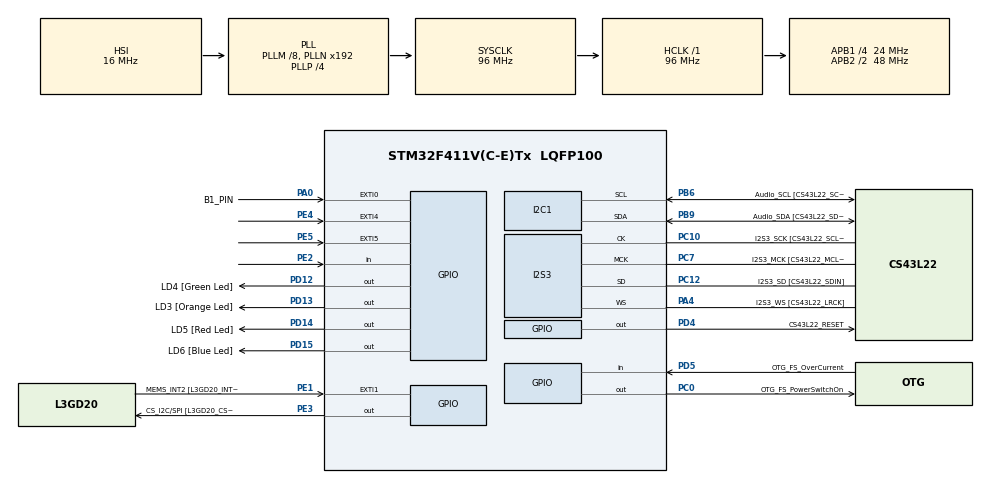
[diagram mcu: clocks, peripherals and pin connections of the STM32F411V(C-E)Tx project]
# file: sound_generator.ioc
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Dma.Request0=SPI3_TX
Dma.SPI3_TX.0.Direction=DMA_MEMORY_TO_PERIPH
Dma.SPI3_TX.0.FIFOMode=DMA_FIFOMODE_DISABLE
Dma.SPI3_TX.0.Instance=DMA1_Stream5
Dma.SPI3_TX.0.MemDataAlignment=DMA_MDATAALIGN_HALFWORD
Dma.SPI3_TX.0.MemInc=DMA_MINC_ENABLE
Dma.SPI3_TX.0.Mode=DMA_CIRCULAR
Dma.SPI3_TX.0.PeriphDataAlignment=DMA_PDATAALIGN_HALFWORD
Dma.SPI3_TX.0.PeriphInc=DMA_PINC_DISABLE
Dma.SPI3_TX.0.Priority=DMA_PRIORITY_LOW
I2S3.AudioFreq=I2S_AUDIOFREQ_48K
I2S3.ErrorAudioFreq=0.15 %
I2S3.FullDuplexMode=I2S_FULLDUPLEXMODE_DISABLE
I2S3.Instance=SPI$Index
I2S3.RealAudioFreq=48.076 KHz
I2S3.Standard=I2S_STANDARD_LSB
I2S3.VirtualMode=I2S_MODE_MASTER
Mcu.Family=STM32F4
Mcu.Name=STM32F411V(C-E)Tx
Mcu.Package=LQFP100
NVIC.DMA1_Stream5_IRQn=true\:0\:0\:false\:false\:true\:false\:true\:true
NVIC.PriorityGroup=NVIC_PRIORITYGROUP_0
NVIC.SPI3_IRQn=true\:0\:0\:false\:false\:true\:true\:true\:true
PA0-WKUP.GPIO_Label=B1_PIN
PA0-WKUP.GPIO_ModeDefaultEXTI=GPIO_MODE_EVT_RISING
PA0-WKUP.Signal=GPXTI0
PA10.GPIO_Label=OTG_FS_ID
PA10.Signal=USB_OTG_FS_ID
PA11.GPIO_Label=OTG_FS_DM
PA11.Signal=USB_OTG_FS_DM
PA12.GPIO_Label=OTG_FS_DP
PA12.Signal=USB_OTG_FS_DP
PA13.GPIO_Label=SWDIO
PA13.Signal=SYS_JTMS-SWDIO
PA14.GPIO_Label=SWCLK
PA14.Signal=SYS_JTCK-SWCLK
PA4.GPIO_Label=I2S3_WS [CS43L22_LRCK]
PA4.GPIO_Mode=GPIO_MODE_AF_PP
PA4.GPIO_PuPd=GPIO_NOPULL
PA4.GPIO_Speed=GPIO_SPEED_FREQ_LOW
PA4.Mode=Half_Duplex_Master
PA4.Signal=I2S3_WS
PA5.GPIO_Label=SPI1_SCK [L3GD20_SC/SPC]
PA5.Signal=SPI1_SCK
PA6.GPIO_Label=SPI1_MISO [L3GD20_AS0/SDO]
PA6.Signal=SPI1_MISO
PA7.GPIO_Label=SPI1_MOSI [L3GD20_SDA/SDI/SDO]
PA7.Signal=SPI1_MOSI
PA9.GPIO_Label=VBUS_FS
PA9.Signal=USB_OTG_FS_VBUS
PB10.GPIO_Label=CLK_IN [MP45DT02_CLK]
PB10.Signal=I2S2_CK
PB12.Signal=I2S2_WS
PB3.GPIO_Label=SWO
PB3.Signal=SYS_JTDO-SWO
PB6.GPIO_Label=Audio_SCL [CS43L22_SCL]
PB6.GPIO_Mode=GPIO_MODE_AF_OD
PB6.GPIO_PuPd=GPIO_NOPULL
PB6.GPIO_Speed=GPIO_SPEED_FREQ_LOW
PB6.Mode=I2C
PB6.Signal=I2C1_SCL
PB9.GPIO_Label=Audio_SDA [CS43L22_SDA]
PB9.GPIO_Mode=GPIO_MODE_AF_OD
PB9.GPIO_PuPd=GPIO_NOPULL
PB9.GPIO_Speed=GPIO_SPEED_FREQ_LOW
PB9.Mode=I2C
PB9.Signal=I2C1_SDA
PC0.GPIO_Label=OTG_FS_PowerSwitchOn
PC0.PinState=GPIO_PIN_SET
PC0.Signal=GPIO_Output
PC10.GPIO_Label=I2S3_SCK [CS43L22_SCLK]
PC10.GPIO_Mode=GPIO_MODE_AF_PP
PC10.GPIO_PuPd=GPIO_NOPULL
PC10.GPIO_Speed=GPIO_SPEED_FREQ_LOW
PC10.Mode=Half_Duplex_Master
PC10.Signal=I2S3_CK
PC12.GPIO_Label=I2S3_SD [CS43L22_SDIN]
PC12.GPIO_Mode=GPIO_MODE_AF_PP
PC12.GPIO_PuPd=GPIO_NOPULL
PC12.GPIO_Speed=GPIO_SPEED_FREQ_LOW
PC12.Mode=Half_Duplex_Master
PC12.Signal=I2S3_SD
PC14-OSC32_IN.GPIO_Label=PC14-OSC32_IN
PC14-OSC32_IN.Signal=RCC_OSC32_IN
PC15-OSC32_OUT.GPIO_Label=PC15-OSC32_OUT
PC15-OSC32_OUT.Signal=RCC_OSC32_OUT
PC3.GPIO_Label=PDM_OUT [MP45DT02_DOUT]
PC3.Signal=I2S2_SD
PC7.GPIO_Label=I2S3_MCK [CS43L22_MCLK]
PC7.GPIO_Mode=GPIO_MODE_AF_PP
PC7.GPIO_PuPd=GPIO_NOPULL
PC7.GPIO_Speed=GPIO_SPEED_FREQ_LOW
PC7.Mode=Master_Clock_Activated
PC7.Signal=I2S3_MCK
PD12.GPIO_Label=LD4 [Green Led]
PD12.GPIO_PuPd=GPIO_NOPULL
PD12.GPIO_Speed=GPIO_SPEED_FREQ_LOW
PD12.Signal=GPIO_Output
PD13.GPIO_Label=LD3 [Orange Led]
PD13.GPIO_PuPd=GPIO_NOPULL
PD13.GPIO_Speed=GPIO_SPEED_FREQ_LOW
PD13.Signal=GPIO_Output
PD14.GPIO_Label=LD5 [Red Led]
PD14.GPIO_PuPd=GPIO_NOPULL
PD14.GPIO_Speed=GPIO_SPEED_FREQ_LOW
PD14.Signal=GPIO_Output
PD15.GPIO_Label=LD6 [Blue Led]
PD15.GPIO_PuPd=GPIO_NOPULL
PD15.GPIO_Speed=GPIO_SPEED_FREQ_LOW
PD15.Signal=GPIO_Output
PD4.GPIO_Label=CS43L22_RESET
PD4.Signal=GPIO_Output
PD5.GPIO_Label=OTG_FS_OverCurrent
PD5.Signal=GPIO_Input
PE1.GPIO_Label=MEMS_INT2 [L3GD20_INT2]
PE1.GPIO_ModeDefaultEXTI=GPIO_MODE_EVT_RISING
PE1.Signal=GPXTI1
PE2.Signal=GPIO_Input
PE3.GPIO_Label=CS_I2C/SPI [L3GD20_CS_I2C/SPI]
PE3.Signal=GPIO_Output
PE4.GPIO_ModeDefaultEXTI=GPIO_MODE_EVT_RISING
PE4.Signal=GPXTI4
PE5.GPIO_ModeDefaultEXTI=GPIO_MODE_EVT_RISING
PE5.Signal=GPXTI5
PH0\ -\ OSC_IN.GPIO_Label=PH0-OSC_IN
PH0\ -\ OSC_IN.Signal=RCC_OSC_IN
PH1\ -\ OSC_OUT.GPIO_Label=PH1-OSC_OUT
PH1\ -\ OSC_OUT.Signal=RCC_OSC_OUT
ProjectManager.HeapSize=0x200
ProjectManager.StackSize=0x400
ProjectManager.TargetToolchain=STM32CubeIDE
RCC.48MHZClocksFreq_Value=48000000
RCC.AHBFreq_Value=96000000
RCC.APB1CLKDivider=RCC_HCLK_DIV4
RCC.APB1Freq_Value=24000000
RCC.APB1TimFreq_Value=48000000
RCC.APB2CLKDivider=RCC_HCLK_DIV2
RCC.APB2Freq_Value=48000000
RCC.APB2TimFreq_Value=96000000
RCC.CortexFreq_Value=96000000
RCC.HCLKFreq_Value=96000000
RCC.HSE_VALUE=8000000
RCC.HSI_VALUE=16000000
RCC.LSE_VALUE=32768
RCC.PLLI2SM=5
RCC.PLLI2SN=200
RCC.PLLM=8
RCC.PLLP=RCC_PLLP_DIV4
RCC.PLLQ=8
RCC.SYSCLKFreq_VALUE=96000000
RCC.SYSCLKSource=RCC_SYSCLKSOURCE_PLLCLK
RCC.VCOOutputFreq_Value=384000000
board=STM32F411E-DISCO

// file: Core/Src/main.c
/* USER CODE BEGIN Header */
/**
  ******************************************************************************
  * @file           : main.c
  * @brief          : Main program body
  ******************************************************************************
  * @attention
  *
  * Copyright (c) 2024 STMicroelectronics.
  * All rights reserved.
  *
  * This software is licensed under terms that can be found in the LICENSE file
  * in the root directory of this software component.
  * If no LICENSE file comes with this software, it is provided AS-IS.
  *
  ******************************************************************************
  */
/* USER CODE END Header */
#include "main.h"

/* USER CODE BEGIN Includes */
#include "cs43l22.h"
#include "math.h"
#include "TJ_MPU6050.h"
#include <stdlib.h>
/* USER CODE END Includes */

I2C_HandleTypeDef hi2c1;

I2S_HandleTypeDef hi2s3;
DMA_HandleTypeDef hdma_spi3_tx;

void SystemClock_Config(void);
static void MX_GPIO_Init(void);
static void MX_DMA_Init(void);
static void MX_I2C1_Init(void);
static void MX_I2S3_Init(void);

/* USER CODE BEGIN 0 */
volatile uint8_t mode = 0; // zmienna przechowująca aktualny tryb
#define SIN_FREQ       100 //100 - jeden z lepszych efektów
#define SAMPLING_RATE  48000
#define BUFFER_LENGTH  SAMPLING_RATE / SIN_FREQ
int16_t buffer_audio[2 * BUFFER_LENGTH];

void change_freq(int sound_freq)
{
	  for(int i = 0; i < BUFFER_LENGTH;i++)
	    {
	        buffer_audio[2 * i] = 10000 * sin(2 * 3.14 * sound_freq * i / SAMPLING_RATE);
	        buffer_audio[2 * i + 1] = 10000 * sin(2 * 3.14 * sound_freq * i / SAMPLING_RATE);
	    }
}

int16_t get_max_abs_value(int16_t x, int16_t y, int16_t z) {
    int16_t abs_x = abs(x);
    int16_t abs_y = abs(y);
    int16_t abs_z = abs(z);

    int16_t max_value = abs_x;
    if (abs_y > max_value) {
        max_value = abs_y;
    }
    if (abs_z > max_value) {
        max_value = abs_z;
    }
    return max_value;
}

int16_t get_min_abs_value(int16_t x, int16_t y, int16_t z) {
    int16_t abs_x = abs(x);
    int16_t abs_y = abs(y);
    int16_t abs_z = abs(z);

    int16_t min_value = abs_x;
    if (abs_y < min_value) {
        min_value = abs_y;
    }
    if (abs_z < min_value) {
        min_value = abs_z;
    }
    return min_value;
}

RawData_Def AccelRawData, GyroRawData;
/* USER CODE END 0 */

int main(void)
{

  /* USER CODE BEGIN 1 */
 MPU_ConfigTypeDef SoundGenMPU;
  /* USER CODE END 1 */

  /* MCU Configuration--------------------------------------------------------*/

  /* Reset of all peripherals, Initializes the Flash interface and the Systick. */
  HAL_Init();

  /* Configure the system clock */
  SystemClock_Config();

  /* Initialize all configured peripherals */
  MX_GPIO_Init();
  MX_DMA_Init();
  MX_I2C1_Init();
  MX_I2S3_Init();
  /* USER CODE BEGIN 2 */
  cs43l22_init();
  MPU6050_Init(&hi2c1);//pointer na we

  /* USER CODE END 2 */

  /* Infinite loop */
  /* USER CODE BEGIN WHILE */
  // playing the sound - ciągłe granie
  SoundGenMPU.Accel_Full_Scale = AFS_SEL_2g;
  SoundGenMPU.ClockSource = Internal_8MHz;
  SoundGenMPU.CONFIG_DLPF = DLPF_184A_188G_Hz;
  SoundGenMPU.Gyro_Full_Scale = FS_SEL_500;
  SoundGenMPU.Sleep_Mode_Bit = 0;
  MPU6050_Config(&SoundGenMPU);
  cs43l22_play(buffer_audio, 2 * BUFFER_LENGTH);
  uint16_t freq = 0;
  uint8_t mode = 0;
  while (1)
  {
      MPU6050_Get_Accel_RawData(&AccelRawData);
      MPU6050_Get_Gyro_RawData(&GyroRawData);

      if (HAL_GPIO_ReadPin(B1_PIN_GPIO_Port, B1_PIN_Pin))
      {
          HAL_Delay(10);
          if (HAL_GPIO_ReadPin(B1_PIN_GPIO_Port, B1_PIN_Pin))
          {
              mode = (mode + 1) % 3; // Zmiana trybu
              while (HAL_GPIO_ReadPin(B1_PIN_GPIO_Port, B1_PIN_Pin));
          }
      }

      switch (mode)
      {
          case 0:
              freq = abs(GyroRawData.x); // Tryb 1: wykorzystanie osi X
              if (freq < 100) freq = 100;
              break;
          case 1:
        	  static uint16_t prev_freq = 0;
        	  uint16_t new_freq = get_max_abs_value(GyroRawData.x, GyroRawData.y, GyroRawData.z) / 10;
        	  freq = (prev_freq + new_freq) / 2;
        	  prev_freq = freq;
        	  if (freq < 100) freq = 100; // Tryb 2: smooth - uśrednianie
              break;
          case 2:
              freq = (abs(GyroRawData.x) + abs(GyroRawData.y) + abs(GyroRawData.z)) / (3*10); // Tryb 3: zaniżona średnia z osi
              if (freq < 100) freq = 100;
              break;
      }
      change_freq(freq);
      HAL_Delay(10);
  }

    /* USER CODE END WHILE */

}

void SystemClock_Config(void)
{
  RCC_OscInitTypeDef RCC_OscInitStruct = {0};
  RCC_ClkInitTypeDef RCC_ClkInitStruct = {0};

  /** Configure the main internal regulator output voltage
  */
  __HAL_RCC_PWR_CLK_ENABLE();
  __HAL_PWR_VOLTAGESCALING_CONFIG(PWR_REGULATOR_VOLTAGE_SCALE1);

  /** Initializes the RCC Oscillators according to the specified parameters
  * in the RCC_OscInitTypeDef structure.
  */
  RCC_OscInitStruct.OscillatorType = RCC_OSCILLATORTYPE_HSI;
  RCC_OscInitStruct.HSIState = RCC_HSI_ON;
  RCC_OscInitStruct.HSICalibrationValue = RCC_HSICALIBRATION_DEFAULT;
  RCC_OscInitStruct.PLL.PLLState = RCC_PLL_ON;
  RCC_OscInitStruct.PLL.PLLSource = RCC_PLLSOURCE_HSI;
  RCC_OscInitStruct.PLL.PLLM = 8;
  RCC_OscInitStruct.PLL.PLLN = 192;
  RCC_OscInitStruct.PLL.PLLP = RCC_PLLP_DIV4;
  RCC_OscInitStruct.PLL.PLLQ = 8;
  if (HAL_RCC_OscConfig(&RCC_OscInitStruct) != HAL_OK)
  {
    Error_Handler();
  }

  /** Initializes the CPU, AHB and APB buses clocks
  */
  RCC_ClkInitStruct.ClockType = RCC_CLOCKTYPE_HCLK|RCC_CLOCKTYPE_SYSCLK
                              |RCC_CLOCKTYPE_PCLK1|RCC_CLOCKTYPE_PCLK2;
  RCC_ClkInitStruct.SYSCLKSource = RCC_SYSCLKSOURCE_PLLCLK;
  RCC_ClkInitStruct.AHBCLKDivider = RCC_SYSCLK_DIV1;
  RCC_ClkInitStruct.APB1CLKDivider = RCC_HCLK_DIV4;
  RCC_ClkInitStruct.APB2CLKDivider = RCC_HCLK_DIV2;

  if (HAL_RCC_ClockConfig(&RCC_ClkInitStruct, FLASH_LATENCY_3) != HAL_OK)
  {
    Error_Handler();
  }
}

static void MX_I2C1_Init(void)
{

  hi2c1.Instance = I2C1;
  hi2c1.Init.ClockSpeed = 100000;
  hi2c1.Init.DutyCycle = I2C_DUTYCYCLE_2;
  hi2c1.Init.OwnAddress1 = 0;
  hi2c1.Init.AddressingMode = I2C_ADDRESSINGMODE_7BIT;
  hi2c1.Init.DualAddressMode = I2C_DUALADDRESS_DISABLE;
  hi2c1.Init.OwnAddress2 = 0;
  hi2c1.Init.GeneralCallMode = I2C_GENERALCALL_DISABLE;
  hi2c1.Init.NoStretchMode = I2C_NOSTRETCH_DISABLE;
  if (HAL_I2C_Init(&hi2c1) != HAL_OK)
  {
    Error_Handler();
  }

}

static void MX_I2S3_Init(void)
{

  hi2s3.Instance = SPI3;
  hi2s3.Init.Mode = I2S_MODE_MASTER_TX;
  hi2s3.Init.Standard = I2S_STANDARD_LSB;
  hi2s3.Init.DataFormat = I2S_DATAFORMAT_16B;
  hi2s3.Init.MCLKOutput = I2S_MCLKOUTPUT_ENABLE;
  hi2s3.Init.AudioFreq = I2S_AUDIOFREQ_48K;
  hi2s3.Init.CPOL = I2S_CPOL_LOW;
  hi2s3.Init.ClockSource = I2S_CLOCK_PLL;
  hi2s3.Init.FullDuplexMode = I2S_FULLDUPLEXMODE_DISABLE;
  if (HAL_I2S_Init(&hi2s3) != HAL_OK)
  {
    Error_Handler();
  }

}

static void MX_DMA_Init(void)
{

  /* DMA controller clock enable */
  __HAL_RCC_DMA1_CLK_ENABLE();

  /* DMA interrupt init */
  /* DMA1_Stream5_IRQn interrupt configuration */
  HAL_NVIC_SetPriority(DMA1_Stream5_IRQn, 0, 0);
  HAL_NVIC_EnableIRQ(DMA1_Stream5_IRQn);

}

static void MX_GPIO_Init(void)
{
  GPIO_InitTypeDef GPIO_InitStruct = {0};

  /* GPIO Ports Clock Enable */
  __HAL_RCC_GPIOE_CLK_ENABLE();
  __HAL_RCC_GPIOC_CLK_ENABLE();
  __HAL_RCC_GPIOH_CLK_ENABLE();
  __HAL_RCC_GPIOA_CLK_ENABLE();
  __HAL_RCC_GPIOB_CLK_ENABLE();
  __HAL_RCC_GPIOD_CLK_ENABLE();

  /*Configure GPIO pin Output Level */
  HAL_GPIO_WritePin(CS_I2C_SPI_GPIO_Port, CS_I2C_SPI_Pin, GPIO_PIN_RESET);

  /*Configure GPIO pin Output Level */
  HAL_GPIO_WritePin(OTG_FS_PowerSwitchOn_GPIO_Port, OTG_FS_PowerSwitchOn_Pin, GPIO_PIN_SET);

  /*Configure GPIO pin Output Level */
  HAL_GPIO_WritePin(GPIOD, LD4_Pin|LD3_Pin|LD5_Pin|LD6_Pin
                          |CS43L22_RESET_Pin, GPIO_PIN_RESET);

  /*Configure GPIO pin : PE2 */
  GPIO_InitStruct.Pin = GPIO_PIN_2;
  GPIO_InitStruct.Mode = GPIO_MODE_INPUT;
  GPIO_InitStruct.Pull = GPIO_NOPULL;
  HAL_GPIO_Init(GPIOE, &GPIO_InitStruct);

  /*Configure GPIO pin : CS_I2C_SPI_Pin */
  GPIO_InitStruct.Pin = CS_I2C_SPI_Pin;
  GPIO_InitStruct.Mode = GPIO_MODE_OUTPUT_PP;
  GPIO_InitStruct.Pull = GPIO_NOPULL;
  GPIO_InitStruct.Speed = GPIO_SPEED_FREQ_LOW;
  HAL_GPIO_Init(CS_I2C_SPI_GPIO_Port, &GPIO_InitStruct);

  /*Configure GPIO pins : PE4 PE5 MEMS_INT2_Pin */
  GPIO_InitStruct.Pin = GPIO_PIN_4|GPIO_PIN_5|MEMS_INT2_Pin;
  GPIO_InitStruct.Mode = GPIO_MODE_EVT_RISING;
  GPIO_InitStruct.Pull = GPIO_NOPULL;
  HAL_GPIO_Init(GPIOE, &GPIO_InitStruct);

  /*Configure GPIO pin : OTG_FS_PowerSwitchOn_Pin */
  GPIO_InitStruct.Pin = OTG_FS_PowerSwitchOn_Pin;
  GPIO_InitStruct.Mode = GPIO_MODE_OUTPUT_PP;
  GPIO_InitStruct.Pull = GPIO_NOPULL;
  GPIO_InitStruct.Speed = GPIO_SPEED_FREQ_LOW;
  HAL_GPIO_Init(OTG_FS_PowerSwitchOn_GPIO_Port, &GPIO_InitStruct);

  /*Configure GPIO pin : PDM_OUT_Pin */
  GPIO_InitStruct.Pin = PDM_OUT_Pin;
  GPIO_InitStruct.Mode = GPIO_MODE_AF_PP;
  GPIO_InitStruct.Pull = GPIO_NOPULL;
  GPIO_InitStruct.Speed = GPIO_SPEED_FREQ_LOW;
  GPIO_InitStruct.Alternate = GPIO_AF5_SPI2;
  HAL_GPIO_Init(PDM_OUT_GPIO_Port, &GPIO_InitStruct);

  /*Configure GPIO pin : B1_PIN_Pin */
  GPIO_InitStruct.Pin = B1_PIN_Pin;
  GPIO_InitStruct.Mode = GPIO_MODE_EVT_RISING;
  GPIO_InitStruct.Pull = GPIO_NOPULL;
  HAL_GPIO_Init(B1_PIN_GPIO_Port, &GPIO_InitStruct);

  /*Configure GPIO pins : SPI1_SCK_Pin SPI1_MISO_Pin SPI1_MOSI_Pin */
  GPIO_InitStruct.Pin = SPI1_SCK_Pin|SPI1_MISO_Pin|SPI1_MOSI_Pin;
  GPIO_InitStruct.Mode = GPIO_MODE_AF_PP;
  GPIO_InitStruct.Pull = GPIO_NOPULL;
  GPIO_InitStruct.Speed = GPIO_SPEED_FREQ_VERY_HIGH;
  GPIO_InitStruct.Alternate = GPIO_AF5_SPI1;
  HAL_GPIO_Init(GPIOA, &GPIO_InitStruct);

  /*Configure GPIO pins : CLK_IN_Pin PB12 */
  GPIO_InitStruct.Pin = CLK_IN_Pin|GPIO_PIN_12;
  GPIO_InitStruct.Mode = GPIO_MODE_AF_PP;
  GPIO_InitStruct.Pull = GPIO_NOPULL;
  GPIO_InitStruct.Speed = GPIO_SPEED_FREQ_LOW;
  GPIO_InitStruct.Alternate = GPIO_AF5_SPI2;
  HAL_GPIO_Init(GPIOB, &GPIO_InitStruct);

  /*Configure GPIO pins : LD4_Pin LD3_Pin LD5_Pin LD6_Pin
                           CS43L22_RESET_Pin */
  GPIO_InitStruct.Pin = LD4_Pin|LD3_Pin|LD5_Pin|LD6_Pin
                          |CS43L22_RESET_Pin;
  GPIO_InitStruct.Mode = GPIO_MODE_OUTPUT_PP;
  GPIO_InitStruct.Pull = GPIO_NOPULL;
  GPIO_InitStruct.Speed = GPIO_SPEED_FREQ_LOW;
  HAL_GPIO_Init(GPIOD, &GPIO_InitStruct);

  /*Configure GPIO pin : VBUS_FS_Pin */
  GPIO_InitStruct.Pin = VBUS_FS_Pin;
  GPIO_InitStruct.Mode = GPIO_MODE_INPUT;
  GPIO_InitStruct.Pull = GPIO_NOPULL;
  HAL_GPIO_Init(VBUS_FS_GPIO_Port, &GPIO_InitStruct);

  /*Configure GPIO pins : OTG_FS_ID_Pin OTG_FS_DM_Pin OTG_FS_DP_Pin */
  GPIO_InitStruct.Pin = OTG_FS_ID_Pin|OTG_FS_DM_Pin|OTG_FS_DP_Pin;
  GPIO_InitStruct.Mode = GPIO_MODE_AF_PP;
  GPIO_InitStruct.Pull = GPIO_NOPULL;
  GPIO_InitStruct.Speed = GPIO_SPEED_FREQ_VERY_HIGH;
  GPIO_InitStruct.Alternate = GPIO_AF10_OTG_FS;
  HAL_GPIO_Init(GPIOA, &GPIO_InitStruct);

  /*Configure GPIO pin : OTG_FS_OverCurrent_Pin */
  GPIO_InitStruct.Pin = OTG_FS_OverCurrent_Pin;
  GPIO_InitStruct.Mode = GPIO_MODE_INPUT;
  GPIO_InitStruct.Pull = GPIO_NOPULL;
  HAL_GPIO_Init(OTG_FS_OverCurrent_GPIO_Port, &GPIO_InitStruct);

}

void Error_Handler(void)
{
  __disable_irq();
  while (1)
  {
  }
}
